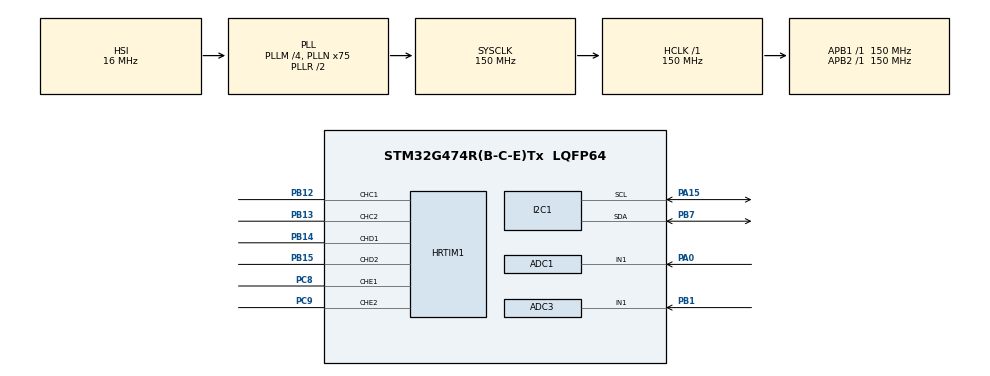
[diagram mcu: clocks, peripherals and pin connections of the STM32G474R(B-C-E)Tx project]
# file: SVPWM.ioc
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ADC1.Channel-0\#ChannelRegularConversion=ADC_CHANNEL_1
ADC1.NbrOfConversionFlag=1
ADC1.OffsetNumber-0\#ChannelRegularConversion=ADC_OFFSET_NONE
ADC1.Rank-0\#ChannelRegularConversion=1
ADC1.SamplingTime-0\#ChannelRegularConversion=ADC_SAMPLETIME_2CYCLES_5
ADC1.master=1
ADC2.Channel-0\#ChannelRegularConversion=ADC_CHANNEL_1
ADC2.NbrOfConversionFlag=1
ADC2.OffsetNumber-0\#ChannelRegularConversion=ADC_OFFSET_NONE
ADC2.Rank-0\#ChannelRegularConversion=1
ADC2.SamplingTime-0\#ChannelRegularConversion=ADC_SAMPLETIME_2CYCLES_5
ADC3.Channel-0\#ChannelRegularConversion=ADC_CHANNEL_1
ADC3.NbrOfConversionFlag=1
ADC3.OffsetNumber-0\#ChannelRegularConversion=ADC_OFFSET_NONE
ADC3.Rank-0\#ChannelRegularConversion=1
ADC3.SamplingTime-0\#ChannelRegularConversion=ADC_SAMPLETIME_2CYCLES_5
ADC3.master=1
Dma.ADC1.1.Direction=DMA_PERIPH_TO_MEMORY
Dma.ADC1.1.EventEnable=DISABLE
Dma.ADC1.1.Instance=DMA1_Channel2
Dma.ADC1.1.MemDataAlignment=DMA_MDATAALIGN_HALFWORD
Dma.ADC1.1.MemInc=DMA_MINC_ENABLE
Dma.ADC1.1.Mode=DMA_CIRCULAR
Dma.ADC1.1.PeriphDataAlignment=DMA_PDATAALIGN_HALFWORD
Dma.ADC1.1.PeriphInc=DMA_PINC_DISABLE
Dma.ADC1.1.Polarity=HAL_DMAMUX_REQ_GEN_RISING
Dma.ADC1.1.Priority=DMA_PRIORITY_LOW
Dma.ADC1.1.RequestNumber=1
Dma.ADC1.1.SignalID=NONE
Dma.ADC1.1.SyncEnable=DISABLE
Dma.ADC1.1.SyncPolarity=HAL_DMAMUX_SYNC_NO_EVENT
Dma.ADC1.1.SyncRequestNumber=1
Dma.ADC1.1.SyncSignalID=NONE
Dma.ADC2.0.Direction=DMA_PERIPH_TO_MEMORY
Dma.ADC2.0.EventEnable=DISABLE
Dma.ADC2.0.Instance=DMA1_Channel1
Dma.ADC2.0.MemDataAlignment=DMA_MDATAALIGN_HALFWORD
Dma.ADC2.0.MemInc=DMA_MINC_ENABLE
Dma.ADC2.0.Mode=DMA_CIRCULAR
Dma.ADC2.0.PeriphDataAlignment=DMA_PDATAALIGN_HALFWORD
Dma.ADC2.0.PeriphInc=DMA_PINC_DISABLE
Dma.ADC2.0.Polarity=HAL_DMAMUX_REQ_GEN_RISING
Dma.ADC2.0.Priority=DMA_PRIORITY_LOW
Dma.ADC2.0.RequestNumber=1
Dma.ADC2.0.SignalID=NONE
Dma.ADC2.0.SyncEnable=DISABLE
Dma.ADC2.0.SyncPolarity=HAL_DMAMUX_SYNC_NO_EVENT
Dma.ADC2.0.SyncRequestNumber=1
Dma.ADC2.0.SyncSignalID=NONE
Dma.ADC3.2.Direction=DMA_PERIPH_TO_MEMORY
Dma.ADC3.2.EventEnable=DISABLE
Dma.ADC3.2.Instance=DMA1_Channel3
Dma.ADC3.2.MemDataAlignment=DMA_MDATAALIGN_HALFWORD
Dma.ADC3.2.MemInc=DMA_MINC_ENABLE
Dma.ADC3.2.Mode=DMA_CIRCULAR
Dma.ADC3.2.PeriphDataAlignment=DMA_PDATAALIGN_HALFWORD
Dma.ADC3.2.PeriphInc=DMA_PINC_DISABLE
Dma.ADC3.2.Polarity=HAL_DMAMUX_REQ_GEN_RISING
Dma.ADC3.2.Priority=DMA_PRIORITY_LOW
Dma.ADC3.2.RequestNumber=1
Dma.ADC3.2.SignalID=NONE
Dma.ADC3.2.SyncEnable=DISABLE
Dma.ADC3.2.SyncPolarity=HAL_DMAMUX_SYNC_NO_EVENT
Dma.ADC3.2.SyncRequestNumber=1
Dma.ADC3.2.SyncSignalID=NONE
Dma.Request0=ADC2
Dma.Request1=ADC1
Dma.Request2=ADC3
HRTIM1.CompareUnit1-Output_TC1TC2=HRTIM_COMPAREUNIT_1
HRTIM1.CompareUnit1-Output_TD1TD2=HRTIM_COMPAREUNIT_1
HRTIM1.CompareUnit1-Output_TE1TE2=HRTIM_COMPAREUNIT_1
HRTIM1.CompareValue1-Output_TC1TC2=3000
HRTIM1.NumberResetSource1-Output_TC1TC2=1
HRTIM1.NumberResetSource1-Output_TD1TD2=1
HRTIM1.NumberResetSource1-Output_TE1TE2=1
HRTIM1.NumberSetSource1-Output_TC1TC2=1
HRTIM1.NumberSetSource1-Output_TD1TD2=1
HRTIM1.NumberSetSource1-Output_TE1TE2=1
HRTIM1.Periode_TC=24000
HRTIM1.Periode_TD=24000
HRTIM1.Periode_TE=24000
HRTIM1.PreloadEnable-Output_TC1TC2=HRTIM_PRELOAD_ENABLED
HRTIM1.PreloadEnable-Output_TD1TD2=HRTIM_PRELOAD_ENABLED
HRTIM1.PreloadEnable-Output_TE1TE2=HRTIM_PRELOAD_ENABLED
HRTIM1.PrescalerRatio_TC=HRTIM_PRESCALERRATIO_MUL8
HRTIM1.RepetitionUpdate-Output_TC1TC2=HRTIM_UPDATEONREPETITION_ENABLED
HRTIM1.RepetitionUpdate-Output_TD1TD2=HRTIM_UPDATEONREPETITION_ENABLED
HRTIM1.RepetitionUpdate-Output_TE1TE2=HRTIM_UPDATEONREPETITION_ENABLED
HRTIM1.ResetOutput1_Source1-Output_TC1TC2=HRTIM_OUTPUTRESET_TIMCMP1
HRTIM1.ResetOutput1_Source1-Output_TD1TD2=HRTIM_OUTPUTRESET_TIMCMP1
HRTIM1.ResetOutput1_Source1-Output_TE1TE2=HRTIM_OUTPUTRESET_TIMCMP1
HRTIM1.SetOutput1_Source1-Output_TC1TC2=HRTIM_OUTPUTSET_TIMPER
HRTIM1.SetOutput1_Source1-Output_TD1TD2=HRTIM_OUTPUTSET_TIMPER
HRTIM1.SetOutput1_Source1-Output_TE1TE2=HRTIM_OUTPUTSET_TIMPER
I2C1.Timing=0x30D293D6
Mcu.Family=STM32G4
Mcu.Name=STM32G474R(B-C-E)Tx
Mcu.Package=LQFP64
NVIC.DMA1_Channel1_IRQn=true\:0\:0\:false\:false\:true\:false\:true\:true
NVIC.DMA1_Channel2_IRQn=true\:0\:0\:false\:false\:true\:false\:true\:true
NVIC.DMA1_Channel3_IRQn=true\:0\:0\:false\:false\:true\:false\:true\:true
NVIC.PriorityGroup=NVIC_PRIORITYGROUP_4
NVIC.TIM7_DAC_IRQn=true\:0\:0\:false\:false\:true\:true\:true\:true
PA0.Signal=SharedAnalog_PA0
PA1.Signal=ADC2_IN2
PA13.Mode=Serial_Wire
PA13.Signal=SYS_JTMS-SWDIO
PA14.Mode=Serial_Wire
PA14.Signal=SYS_JTCK-SWCLK
PA15.Mode=I2C
PA15.Signal=I2C1_SCL
PB1.Mode=IN1-Single-Ended
PB1.Signal=ADC3_IN1
PB12.Mode=Output_TC1TC2
PB12.Signal=HRTIM1_CHC1
PB13.Mode=Output_TC1TC2
PB13.Signal=HRTIM1_CHC2
PB14.Mode=Output_TD1TD2
PB14.Signal=HRTIM1_CHD1
PB15.Mode=Output_TD1TD2
PB15.Signal=HRTIM1_CHD2
PB7.Mode=I2C
PB7.Signal=I2C1_SDA
PC8.Mode=Output_TE1TE2
PC8.Signal=HRTIM1_CHE1
PC9.Mode=Output_TE1TE2
PC9.Signal=HRTIM1_CHE2
ProjectManager.HeapSize=0x200
ProjectManager.StackSize=0x400
ProjectManager.TargetToolchain=MDK-ARM V5.32
RCC.ADC12Freq_Value=150000000
RCC.ADC345Freq_Value=150000000
RCC.AHBFreq_Value=150000000
RCC.APB1Freq_Value=150000000
RCC.APB1TimFreq_Value=150000000
RCC.APB2Freq_Value=150000000
RCC.APB2TimFreq_Value=150000000
RCC.CortexFreq_Value=150000000
RCC.EXTERNAL_CLOCK_VALUE=12288000
RCC.HCLKFreq_Value=150000000
RCC.HSE_VALUE=8000000
RCC.HSI48_VALUE=48000000
RCC.HSI_VALUE=16000000
RCC.LSE_VALUE=32768
RCC.PLLM=RCC_PLLM_DIV4
RCC.PLLN=75
RCC.SYSCLKFreq_VALUE=150000000
RCC.SYSCLKSource=RCC_SYSCLKSOURCE_PLLCLK
RCC.USBFreq_Value=150000000
RCC.VCOOutputFreq_Value=300000000
SH.SharedAnalog_PA0.0=ADC1_IN1,IN1-Single-Ended
SH.SharedAnalog_PA0.1=ADC2_IN1,IN1-Single-Ended
TIM7.AutoReloadPreload=TIM_AUTORELOAD_PRELOAD_ENABLE
TIM7.PeriodNoDither=20-1
TIM7.Prescaler=150-1
VP_SYS_VS_DBSignals.Mode=DisableDeadBatterySignals
VP_TIM6_VS_ClockSourceINT.Mode=Enable_Timer
VP_TIM7_VS_ClockSourceINT.Mode=Enable_Timer
board=custom

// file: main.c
/* USER CODE BEGIN Header */
/**
  ******************************************************************************
  * @file           : main.c
  * @brief          : Main program body
  ******************************************************************************
  * @attention
  *
  * Copyright (c) 2025 STMicroelectronics.
  * All rights reserved.
  *
  * This software is licensed under terms that can be found in the LICENSE file
  * in the root directory of this software component.
  * If no LICENSE file comes with this software, it is provided AS-IS.
  *
  ******************************************************************************
  */
/* USER CODE END Header */
#include "main.h"
#include "adc.h"
#include "dma.h"
#include "hrtim.h"
#include "i2c.h"
#include "tim.h"
#include "gpio.h"

/* USER CODE BEGIN Includes */
#include "math.h"
#include "measure.h"
#include "arm_math.h"
#include <stdio.h>
#include "OLED.h"
#include "arm_math.h"
#include "OLED_Data.h"
#include "svpwm.h"
#define	sqrt_2	1.414213f

#define duty_max	0.95f
#define duty_min	0.05f
#define	period		1799.0f
#define SINTABLE_LENGTH 500               //??????????
#define SAMPLE_LENGTH 1000                //?????????????
#define AVERAGE_LENGTH 100
#define PRTABLE_LENGTH 500
volatile float Vac_Offset = 2040.0f;
volatile float Vac_Factor = 45.5816f;

volatile float IL_Offset = 2051.7f;
volatile float IL_Factor = 687.82f;
 float Target_U, Actual_U,Target_I, Actual_I, Out=0;

volatile float Vbus_Offset = 2042.0f;
volatile float Vbus_Factor = 45.2416f;
volatile uint16_t x = 0;
volatile uint16_t sin_n = 0;
volatile float cos_PF = 0.0f;
volatile float D_p = 0.0f, D_n = 0.0f;
volatile float adc[1600] = {0};
volatile float adc1[800] = {0};//PR???????
int16_t CCR,CCR1;
uint16_t LED_1ms,ADC_1ms,Aver_1ms,PR_1ms,SamplePointer,ThetaPointer,PRPointer;
uint16_t ADC_Ua,ADC_Ub,ADC_Ub_Max;
float I_Aver,I_Max;
uint16_t KeyNum;
uint16_t ADC_Single_U[AVERAGE_LENGTH]={0};
uint16_t ADC_Single_I[AVERAGE_LENGTH]={0};
float Feed[PRTABLE_LENGTH]={0};
__IO uint8_t AdcConvEnd = 0;
uint8_t buffer[202];
float ch[4]={0};
//Vofa_HandleTypedef vofa1;
float ADC_RMS_Value_U,ADC_RMS_Value_I,Reference,FeedBack;
float SIN_THETA[SAMPLE_LENGTH]={0};
/* USER CODE END Includes */

void SystemClock_Config(void);

/* USER CODE BEGIN 0 */

void HAL_TIM_PeriodElapsedCallback(TIM_HandleTypeDef *htim)

   {

	if (htim->Instance == TIM7)
		{

		       ThreeLevel_SVPWM(arm_cos_f32(ADC_Ua),arm_cos_f32(ADC_Ub),arm_cos_f32(-ADC_Ua-ADC_Ub),24000,&compare);
			  if(CCR>5900){CCR=5900;}
			  if(CCR<-5900){CCR=-5900;}
			   HRTIM1->sTimerxRegs[HRTIM_TIMERINDEX_TIMER_C].CMP1xR = CCR+6000;
			   HRTIM1->sTimerxRegs[HRTIM_TIMERINDEX_TIMER_D].CMP1xR = 12000-(CCR+6000);
  HRTIM1->sTimerxRegs[HRTIM_TIMERINDEX_TIMER_E].CMP1xR = 12000-(CCR+6000);
		}
	}

void ADC_GetValue(void)
  {

			if(ADC_1ms >= 20)
			{	float temp;
				temp=0;
				uint32_t i;
				ADC_1ms = 0;
				ADC_RMS_Value_U=measure_rms_u();
                Actual_U=ADC_RMS_Value_U;
				ADC_RMS_Value_I=measure_rms_i();
				Actual_I=ADC_RMS_Value_I;

			  for(i=0;i<SAMPLE_LENGTH;i++)
			{
				temp+=ADC_Value_I[i];
//                if(ADC_Ub_Max<=ADC_Value_I[i])
//				{
//					ADC_Ub_Max=ADC_Value_I[i];
//				}
			}
			I_Aver=(temp/(SAMPLE_LENGTH*1.0f));
				temp=0;
			}

  }

void PID_Control(void)                              //PID??????��?
{

}

void OLED_UPDATE(void)                                              //OLED????????
  {

	      if (LED_1ms >= 100)
    {

	}
  }
/* USER CODE END 0 */

int main(void)
{

  /* MCU Configuration--------------------------------------------------------*/

  /* Reset of all peripherals, Initializes the Flash interface and the Systick. */
  HAL_Init();

  /* Configure the system clock */
  SystemClock_Config();

  /* Initialize all configured peripherals */
  MX_GPIO_Init();
  MX_DMA_Init();
  MX_ADC1_Init();
  MX_ADC2_Init();
  MX_HRTIM1_Init();
  MX_I2C1_Init();
  MX_TIM6_Init();
  MX_TIM7_Init();
  MX_ADC3_Init();
  /* USER CODE BEGIN 2 */
    OLED_Init();

//	Vofa_Init(&vofa1, VOFA_MODE_SKIP);

	   HAL_HRTIM_WaveformCounterStart(&hhrtim1,HRTIM_TIMERID_TIMER_C);
    HAL_HRTIM_WaveformOutputStart(&hhrtim1,HRTIM_OUTPUT_TC1 | HRTIM_OUTPUT_TC2);

    HAL_HRTIM_WaveformCounterStart(&hhrtim1,HRTIM_TIMERID_TIMER_D);
    HAL_HRTIM_WaveformOutputStart(&hhrtim1,HRTIM_OUTPUT_TD1 | HRTIM_OUTPUT_TD2);

	HAL_HRTIM_WaveformCounterStart(&hhrtim1,HRTIM_TIMERID_TIMER_E);
    HAL_HRTIM_WaveformOutputStart(&hhrtim1,HRTIM_OUTPUT_TE1 | HRTIM_OUTPUT_TE2);

	HAL_HRTIM_WaveformCounterStart(&hhrtim1,HRTIM_TIMERID_TIMER_F);
    HAL_HRTIM_WaveformOutputStart(&hhrtim1,HRTIM_OUTPUT_TF1 | HRTIM_OUTPUT_TF2);

//	HAL_TIM_Base_Start_IT(&htim1);
	HAL_TIM_Base_Start_IT(&htim6);
	HAL_TIM_Base_Start_IT(&htim7);

	HAL_ADCEx_Calibration_Start(&hadc1,ADC_SINGLE_ENDED);
	HAL_ADCEx_Calibration_Start(&hadc2,ADC_SINGLE_ENDED);
	HAL_ADC_Start_DMA(&hadc1, (uint32_t*)&ADC_Ua,1);
	HAL_ADC_Start_DMA(&hadc2, (uint32_t*)&ADC_Ub,1);
	HAL_NVIC_SetPriority(DMA1_Channel1_IRQn, 0, 0);
    HAL_NVIC_EnableIRQ(DMA1_Channel1_IRQn);
	HAL_NVIC_SetPriority(DMA1_Channel2_IRQn, 1, 1);
    HAL_NVIC_EnableIRQ(DMA1_Channel2_IRQn);
  /* USER CODE END 2 */

  /* Infinite loop */
  while (1)
  {

    /* USER CODE BEGIN 3 */
			OLED_ShowString(0, 0, "Uo:", OLED_6X8);
	OLED_ShowString(0, 10, "Io:", OLED_6X8);
	OLED_ShowString(0, 20, "Out:", OLED_6X8);
	OLED_ShowString(0, 30, "Erri:", OLED_6X8);
	OLED_ShowString(0, 40, "M:", OLED_6X8);
	OLED_ShowString(0, 50, "Iave:", OLED_6X8);
  }
  /* USER CODE END 3 */
}

void SystemClock_Config(void)
{
  RCC_OscInitTypeDef RCC_OscInitStruct = {0};
  RCC_ClkInitTypeDef RCC_ClkInitStruct = {0};

  /** Configure the main internal regulator output voltage
  */
  HAL_PWREx_ControlVoltageScaling(PWR_REGULATOR_VOLTAGE_SCALE1);

  /** Initializes the RCC Oscillators according to the specified parameters
  * in the RCC_OscInitTypeDef structure.
  */
  RCC_OscInitStruct.OscillatorType = RCC_OSCILLATORTYPE_HSI;
  RCC_OscInitStruct.HSIState = RCC_HSI_ON;
  RCC_OscInitStruct.HSICalibrationValue = RCC_HSICALIBRATION_DEFAULT;
  RCC_OscInitStruct.PLL.PLLState = RCC_PLL_ON;
  RCC_OscInitStruct.PLL.PLLSource = RCC_PLLSOURCE_HSI;
  RCC_OscInitStruct.PLL.PLLM = RCC_PLLM_DIV4;
  RCC_OscInitStruct.PLL.PLLN = 75;
  RCC_OscInitStruct.PLL.PLLP = RCC_PLLP_DIV2;
  RCC_OscInitStruct.PLL.PLLQ = RCC_PLLQ_DIV2;
  RCC_OscInitStruct.PLL.PLLR = RCC_PLLR_DIV2;
  if (HAL_RCC_OscConfig(&RCC_OscInitStruct) != HAL_OK)
  {
    Error_Handler();
  }

  /** Initializes the CPU, AHB and APB buses clocks
  */
  RCC_ClkInitStruct.ClockType = RCC_CLOCKTYPE_HCLK|RCC_CLOCKTYPE_SYSCLK
                              |RCC_CLOCKTYPE_PCLK1|RCC_CLOCKTYPE_PCLK2;
  RCC_ClkInitStruct.SYSCLKSource = RCC_SYSCLKSOURCE_PLLCLK;
  RCC_ClkInitStruct.AHBCLKDivider = RCC_SYSCLK_DIV1;
  RCC_ClkInitStruct.APB1CLKDivider = RCC_HCLK_DIV1;
  RCC_ClkInitStruct.APB2CLKDivider = RCC_HCLK_DIV1;

  if (HAL_RCC_ClockConfig(&RCC_ClkInitStruct, FLASH_LATENCY_4) != HAL_OK)
  {
    Error_Handler();
  }
}

void Error_Handler(void)
{
  __disable_irq();
  while (1)
  {
  }
}
